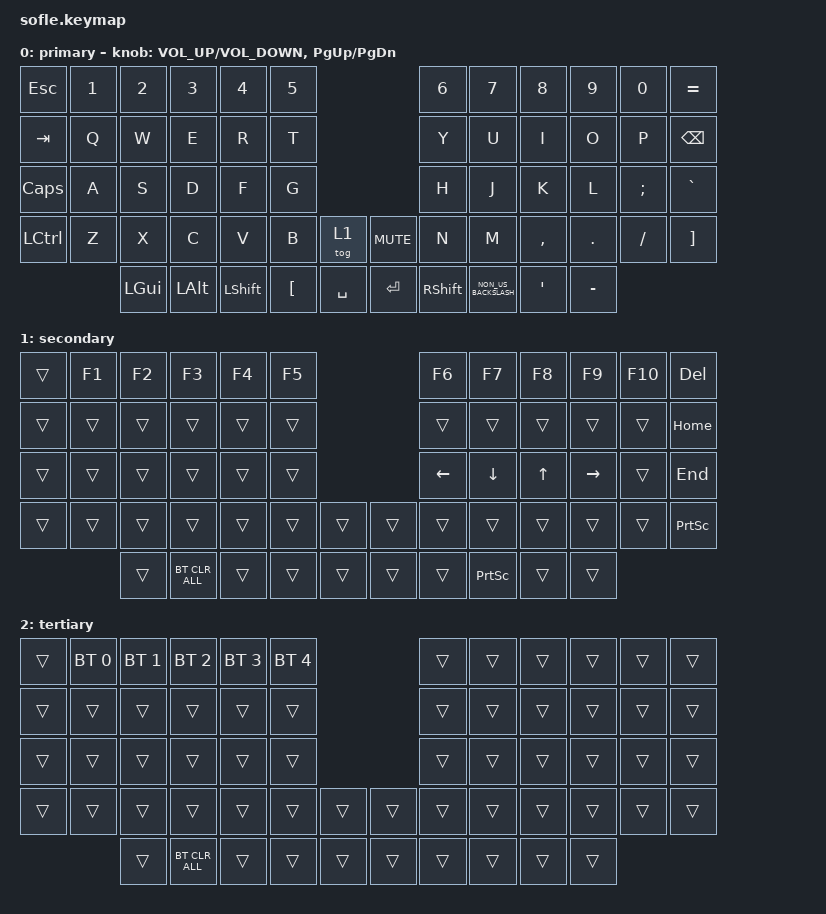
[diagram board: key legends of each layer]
/*
 * Copyright (c) 2020 The ZMK Contributors
 *
 * SPDX-License-Identifier: MIT
 */

#include <behaviors.dtsi>
#include <dt-bindings/zmk/keys.h>
#include <dt-bindings/zmk/bt.h>
#include <dt-bindings/zmk/rgb.h>
#include <dt-bindings/zmk/ext_power.h>

#define BASE 0
#define LOWER 1
#define RAISE 2
#define ADJUST 3

/ {

   // Activate ADJUST layer by pressing raise and lower
    conditional_layers {
        compatible = "zmk,conditional-layers";
        adjust_layer {
            if-layers = <LOWER RAISE>;
            then-layer = <ADJUST>;
        };
    };

   keymap {
        compatible = "zmk,keymap";

        primary {
            bindings = <
&kp ESC    &kp N1  &kp N2    &kp N3        &kp N4          &kp N5                             &kp N6           &kp N7                &kp N8            &kp N9     &kp N0    &kp EQUAL
&kp TAB    &kp Q   &kp W     &kp E         &kp R           &kp T                              &kp Y            &kp U                 &kp I             &kp O      &kp P     &kp BACKSPACE
&kp CAPS   &kp A   &kp S     &kp D         &kp F           &kp G                              &kp H            &kp J                 &kp K             &kp L      &kp SEMI  &kp GRAVE
&kp LCTRL  &kp Z   &kp X     &kp C         &kp V           &kp B     &tog 1       &kp C_MUTE  &kp N            &kp M                 &kp COMMA         &kp DOT    &kp FSLH  &kp RBKT
                   &kp LGUI  &kp LEFT_ALT  &kp LEFT_SHIFT  &kp LBKT  &kp SPACE    &kp ENTER   &kp RIGHT_SHIFT  &kp NON_US_BACKSLASH  &kp SINGLE_QUOTE  &kp MINUS
            >;

            sensor-bindings =
                <&inc_dec_kp C_VOLUME_UP C_VOLUME_DOWN>,
                <&inc_dec_kp PAGE_UP PAGE_DOWN>;
        };

        secondary {
            bindings = <
&trans  &kp F1  &kp F2  &kp F3          &kp F4  &kp F5                    &kp F6          &kp F7           &kp F8        &kp F9           &kp F10  &kp DELETE
&trans  &trans  &trans  &trans          &trans  &trans                    &trans          &trans           &trans        &trans           &trans   &kp HOME
&trans  &trans  &trans  &trans          &trans  &trans                    &kp LEFT_ARROW  &kp DOWN_ARROW   &kp UP_ARROW  &kp RIGHT_ARROW  &trans   &kp END
&trans  &trans  &trans  &trans          &trans  &trans  &trans    &trans  &trans          &trans           &trans        &trans           &trans   &kp PRINTSCREEN
                &trans  &bt BT_CLR_ALL  &trans  &trans  &trans    &trans  &trans          &kp PRINTSCREEN  &trans        &trans
            >;
        };

        tertiary {
            bindings = <
&trans  &bt BT_SEL 0  &bt BT_SEL 1  &bt BT_SEL 2    &bt BT_SEL 3  &bt BT_SEL 4                    &trans  &trans  &trans  &trans  &trans  &trans
&trans  &trans        &trans        &trans          &trans        &trans                          &trans  &trans  &trans  &trans  &trans  &trans
&trans  &trans        &trans        &trans          &trans        &trans                          &trans  &trans  &trans  &trans  &trans  &trans
&trans  &trans        &trans        &trans          &trans        &trans        &trans    &trans  &trans  &trans  &trans  &trans  &trans  &trans
                      &trans        &bt BT_CLR_ALL  &trans        &trans        &trans    &trans  &trans  &trans  &trans  &trans
            >;
        };
    };
};
